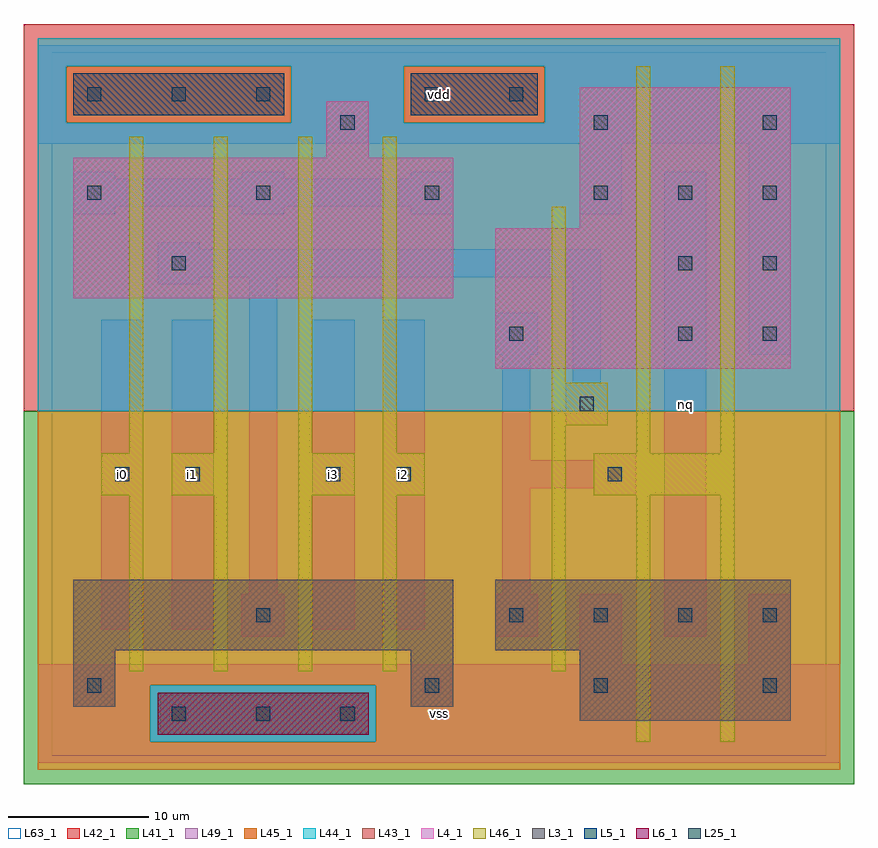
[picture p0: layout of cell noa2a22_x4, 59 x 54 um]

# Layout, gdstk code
import gdstk
lib = gdstk.Library(unit=1e-6, precision=1e-09)
def R(c, l, rs):  # rectangles x0, y0, x1, y1
    for r in rs: c.add(gdstk.rectangle(r[:2], r[2:], *l))
def A(c, l, x, y, w, h, nx, ny, dx, dy):  # array of equal rectangles
    R(c, l, [(x+i*dx, y+j*dy, x+i*dx+w, y+j*dy+h) for i in range(nx) for j in range(ny)])
L3_1 = (3, 1)
L4_1 = (4, 1)
L5_1 = (5, 1)
L6_1 = (6, 1)
L25_1 = (25, 1)
L41_1 = (41, 1)
L42_1 = (42, 1)
L43_1 = (43, 1)
L44_1 = (44, 1)
L45_1 = (45, 1)
L46_1 = (46, 1)
L49_1 = (49, 1)
L63_1 = (63, 1)

noa2a22_x4 = lib.new_cell('noa2a22_x4')
R(noa2a22_x4, L3_1, [(37.5,2.5,52.5,7.5), (1.5,3.5,4.5,7.5), (25.5,3.5,28.5,7.5), (1.5,7.5,28.5,12.5), (31.5,7.5,52.5,12.5)])
R(noa2a22_x4, L4_1, [(31.5,27.5,52.5,37.5), (1.5,32.5,28.5,42.5), (37.5,37.5,52.5,47.5), (19.5,42.5,22.5,46.5)])
R(noa2a22_x4, L5_1, [(1.5,45.5,16.5,48.5), (25.5,45.5,34.5,48.5)])
R(noa2a22_x4, L6_1, [(7.5,1.5,22.5,4.5)])
A(noa2a22_x4, L25_1, 8.5, 2.5, 1, 1, 3, 1, 6, 0)
A(noa2a22_x4, L25_1, 26.5, 4.5, 1, 1, 3, 1, 12, 0)
A(noa2a22_x4, L25_1, 32.5, 9.5, 1, 1, 4, 1, 6, 0)
A(noa2a22_x4, L25_1, 44.5, 29.5, 1, 1, 1, 3, 0, 5)
A(noa2a22_x4, L25_1, 50.5, 29.5, 1, 1, 1, 4, 0, 5)
A(noa2a22_x4, L25_1, 2.5, 39.5, 1, 1, 4, 1, 12, 0)
A(noa2a22_x4, L25_1, 2.5, 46.5, 1, 1, 3, 1, 6, 0)
R(noa2a22_x4, L25_1, [(2.5,4.5,3.5,5.5), (14.5,9.5,15.5,10.5), (4.5,19.5,5.5,20.5), (9.5,19.5,10.5,20.5), (19.5,19.5,20.5,20.5), (24.5,19.5,25.5,20.5), (39.5,19.5,40.5,20.5), (37.5,24.5,38.5,25.5), (32.5,29.5,33.5,30.5), (8.5,34.5,9.5,35.5), (20.5,44.5,21.5,45.5), (38.5,44.5,39.5,45.5), (26.5,46.5,27.5,47.5), (32.5,46.5,33.5,47.5)])
R(noa2a22_x4, L41_1, [(-2,-2,57,24.5)])
R(noa2a22_x4, L42_1, [(-2,24.5,57,52)])
R(noa2a22_x4, L43_1, [(7.5,1.5,22.5,4.5), (37.5,2.5,52.5,7.5), (1.5,3.5,4.5,7.5), (25.5,3.5,28.5,7.5), (1.5,7.5,28.5,12.5), (31.5,7.5,52.5,12.5), (31.5,27.5,52.5,37.5), (1.5,32.5,28.5,42.5), (37.5,37.5,52.5,47.5), (19.5,42.5,22.5,46.5), (1.5,45.5,16.5,48.5), (25.5,45.5,34.5,48.5)])
R(noa2a22_x4, L44_1, [(7,1,23,5), (-1,24.5,56,45), (-1,45,1,49), (17,45,25,49), (35,45,56,49), (-1,49,56,51)])
R(noa2a22_x4, L45_1, [(-1,-1,56,1), (-1,1,7,5), (23,1,56,5), (-1,5,56,24.5), (1,45,17,49), (25,45,35,49)])
A(noa2a22_x4, L46_1, 5.5, 6, 1, 12.5, 4, 1, 6, 0)
A(noa2a22_x4, L46_1, 5.5, 21.5, 1, 22.5, 4, 1, 6, 0)
R(noa2a22_x4, L46_1, [(41.5,1,42.5,18.5), (47.5,1,48.5,18.5), (35.5,6,36.5,23.5), (3.5,18.5,6.5,21.5), (8.5,18.5,12.5,21.5), (17.5,18.5,21.5,21.5), (23.5,18.5,26.5,21.5), (38.5,18.5,48.5,21.5), (41.5,21.5,42.5,49), (47.5,21.5,48.5,49), (35.5,23.5,39.5,26.5), (35.5,26.5,36.5,39)])
A(noa2a22_x4, L49_1, 1.5, 38.5, 3, 0.5, 3, 2, 12, 2.5)
R(noa2a22_x4, L49_1, [(-1,-0.5,56,6.5), (37.5,6.5,40.5,11.5), (49.5,6.5,52.5,11.5), (13.5,8.5,16.5,11.5), (31.5,8.5,34.5,11.5), (43.5,8.5,46.5,41.5), (3.5,9,6.5,31), (8.5,9,11.5,31), (18.5,9,21.5,31), (23.5,9,26.5,31), (14,11.5,16,34), (32,11.5,34,19), (38.5,18.5,41.5,19), (32,19,41.5,21), (32,21,34,28.5), (38.5,21,41.5,21.5), (36.5,23.5,39.5,26.5), (37,26.5,39,34), (31.5,28.5,34.5,31.5), (49.5,28.5,52.5,43.5), (7.5,33.5,10.5,34), (7.5,34,39,36), (7.5,36,10.5,36.5), (37.5,38.5,40.5,43.5), (1.5,39,28.5,41), (-1,43.5,56,50.5)])
R(noa2a22_x4, L63_1, [(0,0,55,50)])
noa2a22_x4.add(gdstk.Label('i1', (10,20), layer=49, texttype=1))
noa2a22_x4.add(gdstk.Label('i0', (5,20), layer=49, texttype=1))
noa2a22_x4.add(gdstk.Label('i1', (10,20), layer=49, texttype=1))
noa2a22_x4.add(gdstk.Label('i0', (5,20), layer=49, texttype=1))
noa2a22_x4.add(gdstk.Label('i2', (25,20), layer=49, texttype=1))
noa2a22_x4.add(gdstk.Label('i3', (20,20), layer=49, texttype=1))
noa2a22_x4.add(gdstk.Label('i3', (20,20), layer=49, texttype=1))
noa2a22_x4.add(gdstk.Label('i2', (25,20), layer=49, texttype=1))
noa2a22_x4.add(gdstk.Label('vss', (27.5,3), layer=49, texttype=1))
noa2a22_x4.add(gdstk.Label('vss', (27.5,3), layer=49, texttype=1))
noa2a22_x4.add(gdstk.Label('vdd', (27.5,47), layer=49, texttype=1))
noa2a22_x4.add(gdstk.Label('vdd', (27.5,47), layer=49, texttype=1))
noa2a22_x4.add(gdstk.Label('nq', (45,25), layer=49, texttype=1))
noa2a22_x4.add(gdstk.Label('nq', (45,25), layer=49, texttype=1))

lib.write_gds('noa2a22_x4.gds')
